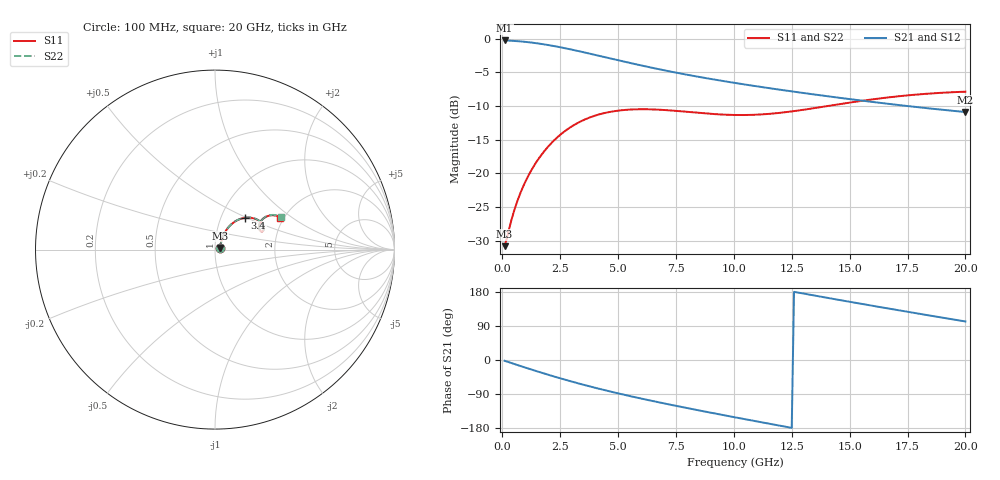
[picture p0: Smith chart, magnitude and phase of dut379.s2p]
! Touchstone file exported from HFSS 2024.1.0
!  File:  C:/UserFiles/LocalFiles/RDL_TSV_Batchsim/temp_RDL_TSV_379_1779644515.aedt
!  Generated:  02:00:51 AM May 25, 2026
!  Design:  RDL_TSV
!  Project:  temp_RDL_TSV_379_1779644515
!  Setup:  Setup1
!  Solution:  Sweep
! Variables:
!  dtsv = 6.86um
!  hbump = 3um
!  htsv = 82.08um
!  ldown = 529.29um
!  lrdl = 552.55um
!  p = 40
!  p1 = 44.11um
!  rhole = 10um
!  subl = 3798.07um
!  t = 450um
!  tdown = 3.47um
!  trdl = 3.06um
!  viad = 10um
!  wdown = 19.57um
!  wrdl = 13.87um
!  xbump = 18um
# GHz S MA R 50.000000
! Terminal data exported
! Port[1] = TM1_1_T1
! Port[2] = TM1_4_T1
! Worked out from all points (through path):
!   200 points, 100 MHz to 20 GHz, reference 50 ohm
!   highest |S21| = -0.24 dB at 100 MHz (marker M1); lowest = -10.9 dB at 20 GHz (marker M2)
!   group delay of S21, straight-line fit = 34.2 ps
!   lowest |S11| = -30.8 dB at 100 MHz (marker M3), VSWR 1.06, Z = 52.8 + j0.91 ohm
!   |S11| at or under -10 dB: start of sweep to 14.03 GHz
!   |S22| runs from -30.8 to -7.8 dB; largest |S21 - S12| = 8.7e-15
!   S11 on the Smith chart (normalised r, x): 100 MHz: 1.06, +0.02; 3.4 GHz: 1.30, +0.49; 20 GHz: 1.92, +0.81
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0.1  0.02882 17.4  0.9724 -2.1  0.9724 -2.1  0.02881 17.4
! Gamma 0 0 0 0
! Port Impedance 50 0 50 0
0.4  0.04539 45.6  0.9674 -8.2  0.9674 -8.2  0.04538 45.6
0.7  0.06575 55.0  0.9595 -14.2  0.9595 -14.2  0.06574 55.0
1  0.08703 58.7  0.9492 -20.2  0.9492 -20.2  0.08701 58.8
1.4  0.1162 60.0  0.9315 -27.9  0.9315 -27.9  0.1162 60.1
1.9  0.1526 58.4  0.9043 -37.4  0.9043 -37.4  0.1526 58.5
2.4  0.187 55.1  0.8727 -46.5  0.8727 -46.5  0.1872 55.3
2.9  0.218 51.0  0.8385 -55.2  0.8385 -55.2  0.2182 51.1
3.4  0.2442 46.5  0.803 -63.6  0.803 -63.6  0.2445 46.7
3.5  0.2488 45.6  0.7958 -65.2  0.7958 -65.2  0.2492 45.8
4.2  0.275 39.5  0.7466 -76.2  0.7466 -76.2  0.2756 39.7
5.1  0.2941 32.6  0.6872 -89.5  0.6872 -89.5  0.2949 32.8
5.9  0.2998 27.6  0.6398 -100.5  0.6398 -100.5  0.3008 27.8
6.8  0.2973 23.7  0.5929 -112.2  0.5929 -112.2  0.2985 23.9
8.4  0.2826 21.1  0.5248 -131.9  0.5248 -131.9  0.284 21.3
10.1  0.2717 23.7  0.4685 -151.8  0.4685 -151.8  0.2732 23.9
11.7  0.2787 28.4  0.4257 -170.1  0.4257 -170.1  0.2803 28.6
13.4  0.3041 32.1  0.3875 171.0  0.3875 171.0  0.3059 32.2
15.1  0.3379 32.8  0.3548 152.5  0.3548 152.5  0.3399 32.9
16.7  0.3677 31.3  0.3284 135.6  0.3284 135.6  0.3699 31.4
18.3  0.3904 28.8  0.3058 119.0  0.3058 119.0  0.3929 29.0
20  0.4048 25.9  0.2859 101.7  0.2859 101.7  0.4077 26.0
